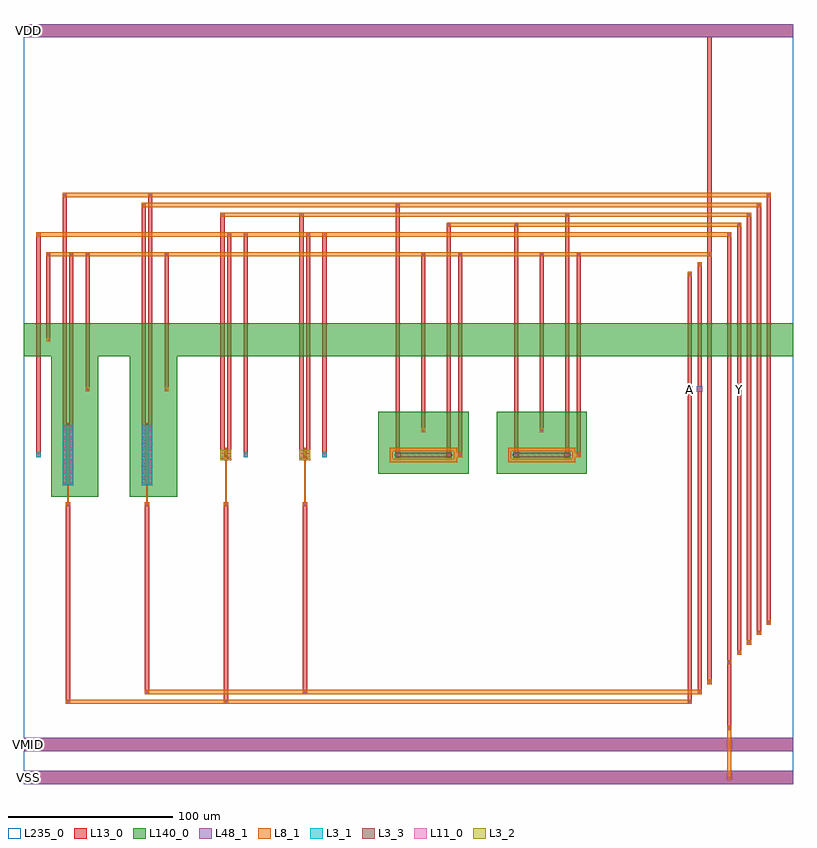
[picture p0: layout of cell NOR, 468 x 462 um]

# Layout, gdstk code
import gdstk
lib = gdstk.Library(unit=1e-6, precision=1e-09)
def R(c, l, rs):  # rectangles x0, y0, x1, y1
    for r in rs: c.add(gdstk.rectangle(r[:2], r[2:], *l))
def A(c, l, x, y, w, h, nx, ny, dx, dy):  # array of equal rectangles
    R(c, l, [(x+i*dx, y+j*dy, x+i*dx+w, y+j*dy+h) for i in range(nx) for j in range(ny)])
def P(c, l, *ps):  # polygons
    for p in ps: c.add(gdstk.Polygon(p, *l))
L3_1 = (3, 1)
L3_2 = (3, 2)
L3_3 = (3, 3)
L8_1 = (8, 1)
L11_0 = (11, 0)
L13_0 = (13, 0)
L48_1 = (48, 1)
L140_0 = (140, 0)
L235_0 = (235, 0)

fet_p__nor = lib.new_cell('fet_p__NOR')
R(fet_p__nor, L3_1, [(-3.3,-18.5,3.3,18.5)])
A(fet_p__nor, L11_0, -2.5, -17.5, 1, 1, 1, 18, 0, 2)
A(fet_p__nor, L11_0, 1.5, -17.5, 1, 1, 1, 18, 0, 2)
R(fet_p__nor, L13_0, [(-3.3,-18.3,-0.7,18.3), (0.7,-18.3,3.3,18.3)])
fet_p__nor.add(gdstk.FlexPath([(0,-19.7),(0,19.7)], 1, ends="flush", simple_path=True, layer=8, datatype=1))  # L8_1

cont_g__nor = lib.new_cell('cont_g__NOR')
R(cont_g__nor, L8_1, [(-1.3,-1.3,1.3,1.3)])
R(cont_g__nor, L11_0, [(-0.5,-0.5,0.5,0.5)])
R(cont_g__nor, L13_0, [(-1.3,-1.3,1.3,1.3)])

cont_n__nor = lib.new_cell('cont_n__NOR')
R(cont_n__nor, L3_2, [(-1.3,-1.3,1.3,1.3)])
R(cont_n__nor, L11_0, [(-0.5,-0.5,0.5,0.5)])
R(cont_n__nor, L13_0, [(-1.3,-1.3,1.3,1.3)])

fet_n__nor = lib.new_cell('fet_n__NOR')
R(fet_n__nor, L3_2, [(-3.3,-3.25,3.3,3.25)])
R(fet_n__nor, L11_0, [(-2.5,-1.5,-1.5,-0.5), (1.5,-1.5,2.5,-0.5), (-2.5,0.5,-1.5,1.5), (1.5,0.5,2.5,1.5)])
R(fet_n__nor, L13_0, [(-3.3,-2.3,-0.7,2.3), (0.7,-2.3,3.3,2.3)])
fet_n__nor.add(gdstk.FlexPath([(0,-4.45),(0,4.45)], 1, ends="flush", simple_path=True, layer=8, datatype=1))  # L8_1

cont_p__nor = lib.new_cell('cont_p__NOR')
R(cont_p__nor, L3_1, [(-1.3,-1.3,1.3,1.3)])
R(cont_p__nor, L11_0, [(-0.5,-0.5,0.5,0.5)])
R(cont_p__nor, L13_0, [(-1.3,-1.3,1.3,1.3)])

res_diff__nor = lib.new_cell('res_diff__NOR')
P(res_diff__nor, L3_3, [(-16.5,-1.4),(-17.5,-0.4),(-17.5,0.4),(-16.5,1.4),(16.5,1.4),(17.5,0.4),(17.5,-0.4),(16.5,-1.4)])
P(res_diff__nor, L8_1, [(-20.5,-4.4),(-20.5,2.4),(-18.5,2.4),(-18.5,-2.4),(18.5,-2.4),(18.5,2.4),(-20.5,2.4),(-20.5,4.4),(20.5,4.4),(20.5,-4.4)])
R(res_diff__nor, L11_0, [(-16,-0.5,-15,0.5), (15,-0.5,16,0.5)])
R(res_diff__nor, L13_0, [(-17.2,-1.7,-13.8,1.7), (13.8,-1.7,17.2,1.7)])

nor = lib.new_cell('NOR')
A(nor, L8_1, 26.5, 169.5, 1, 31, 4, 1, 48, 0)
R(nor, L8_1, [(427.7,2.7,430.3,35.3), (25.7,48.7,406.3,51.3), (73.7,54.7,412.3,57.3), (262.2,198.7,266.8,201.3), (334.2,198.7,338.8,201.3), (13.7,320.7,418.3,323.3), (7.7,332.7,430.3,335.3), (257.2,338.7,436.3,341.3), (119.7,344.7,442.3,347.3), (71.7,350.7,448.3,353.3), (23.7,356.7,454.3,359.3)])
R(nor, L13_0, [(0,0,468,8), (0,20,468,28), (427.7,32.7,430.3,75.3), (25.7,48.7,28.3,171.3), (121.7,48.7,124.3,171.3), (403.7,48.7,406.3,311.3), (73.7,54.7,76.3,171.3), (169.7,54.7,172.3,171.3), (409.7,54.7,412.3,317.3), (415.7,60.7,418.3,323.3), (427.7,72.7,430.3,335.3), (433.7,78.7,436.3,341.3), (439.7,84.7,442.3,347.3), (445.7,90.7,448.3,353.3), (451.7,96.7,454.3,359.3), (7.7,198.7,10.3,335.3), (23.7,198.7,26.3,359.3), (27.7,198.7,30.3,323.3), (71.7,198.7,74.3,353.3), (75.7,198.7,78.3,359.3), (119.7,198.7,122.3,347.3), (123.7,198.7,126.3,335.3), (133.7,198.7,136.3,335.3), (167.7,198.7,170.3,347.3), (171.7,198.7,174.3,335.3), (181.7,198.7,184.3,335.3), (226.2,198.7,228.8,353.3), (257.2,198.7,259.8,341.3), (264.2,198.7,266.8,323.3), (298.2,198.7,300.8,341.3), (329.2,198.7,331.8,347.3), (336.2,198.7,338.8,323.3), (241.7,213.7,244.3,323.3), (313.7,213.7,316.3,323.3), (403.3,238.3,406.7,241.7), (409.3,238.3,412.7,241.7), (433.3,238.3,436.7,241.7), (37.7,238.7,40.3,323.3), (85.7,238.7,88.3,323.3), (13.7,268.7,16.3,323.3), (415.7,320.7,418.3,459.3), (0,454,468,462)])
R(nor, L48_1, [(0,0,468,8), (0,20,468,28), (403.3,238.3,406.7,241.7), (409.3,238.3,412.7,241.7), (433.3,238.3,436.7,241.7), (0,454,468,462)])
R(nor, L140_0, [(16.7,174.5,45.3,280), (64.7,174.5,93.3,280), (215.5,188.6,270.5,226.4), (287.5,188.6,342.5,226.4), (0,260,468,280)])
R(nor, L235_0, [(0,0,468,462)])
nor.add(gdstk.Reference(fet_p__nor, (27,200)))
nor.add(gdstk.Reference(cont_g__nor, (27,170)))
nor.add(gdstk.Reference(cont_n__nor, (39,240)))
nor.add(gdstk.Reference(fet_p__nor, (75,200)))
nor.add(gdstk.Reference(cont_g__nor, (75,170)))
nor.add(gdstk.Reference(cont_n__nor, (87,240)))
nor.add(gdstk.Reference(fet_n__nor, (123,200)))
nor.add(gdstk.Reference(cont_g__nor, (123,170)))
nor.add(gdstk.Reference(cont_p__nor, (135,200)))
nor.add(gdstk.Reference(fet_n__nor, (171,200)))
nor.add(gdstk.Reference(cont_g__nor, (171,170)))
nor.add(gdstk.Reference(cont_p__nor, (183,200)))
nor.add(gdstk.Reference(res_diff__nor, (243,200)))
nor.add(gdstk.Reference(cont_n__nor, (243,215)))
nor.add(gdstk.Reference(cont_g__nor, (265.5,200)))
nor.add(gdstk.Reference(res_diff__nor, (315,200)))
nor.add(gdstk.Reference(cont_n__nor, (315,215)))
nor.add(gdstk.Reference(cont_g__nor, (337.5,200)))
nor.add(gdstk.Reference(cont_n__nor, (15,270)))
nor.add(gdstk.Reference(cont_p__nor, (9,200)))
nor.add(gdstk.Reference(cont_g__nor, (27,50)))
nor.add(gdstk.Reference(cont_g__nor, (123,50)))
nor.add(gdstk.Reference(cont_g__nor, (405,50)))
nor.add(gdstk.Reference(cont_g__nor, (405,310)))
nor.add(gdstk.Reference(cont_g__nor, (75,56)))
nor.add(gdstk.Reference(cont_g__nor, (171,56)))
nor.add(gdstk.Reference(cont_g__nor, (411,56)))
nor.add(gdstk.Reference(cont_g__nor, (411,316)))
nor.add(gdstk.Reference(cont_g__nor, (417,62)))
nor.add(gdstk.Reference(cont_g__nor, (29,322)))
nor.add(gdstk.Reference(cont_g__nor, (39,322)))
nor.add(gdstk.Reference(cont_g__nor, (87,322)))
nor.add(gdstk.Reference(cont_g__nor, (243,322)))
nor.add(gdstk.Reference(cont_g__nor, (265.5,322)))
nor.add(gdstk.Reference(cont_g__nor, (315,322)))
nor.add(gdstk.Reference(cont_g__nor, (337.5,322)))
nor.add(gdstk.Reference(cont_g__nor, (15,322)))
nor.add(gdstk.Reference(cont_g__nor, (417,322)))
nor.add(gdstk.Reference(cont_g__nor, (429,74)))
nor.add(gdstk.Reference(cont_g__nor, (125,334)))
nor.add(gdstk.Reference(cont_g__nor, (135,334)))
nor.add(gdstk.Reference(cont_g__nor, (173,334)))
nor.add(gdstk.Reference(cont_g__nor, (183,334)))
nor.add(gdstk.Reference(cont_g__nor, (9,334)))
nor.add(gdstk.Reference(cont_g__nor, (429,334)))
nor.add(gdstk.Reference(cont_g__nor, (429,34)))
nor.add(gdstk.Reference(cont_g__nor, (429,4)))
nor.add(gdstk.Reference(cont_g__nor, (435,80)))
nor.add(gdstk.Reference(cont_g__nor, (258.5,340)))
nor.add(gdstk.Reference(cont_g__nor, (299.5,340)))
nor.add(gdstk.Reference(cont_g__nor, (435,340)))
nor.add(gdstk.Reference(cont_g__nor, (441,86)))
nor.add(gdstk.Reference(cont_g__nor, (121,346)))
nor.add(gdstk.Reference(cont_g__nor, (169,346)))
nor.add(gdstk.Reference(cont_g__nor, (330.5,346)))
nor.add(gdstk.Reference(cont_g__nor, (441,346)))
nor.add(gdstk.Reference(cont_g__nor, (447,92)))
nor.add(gdstk.Reference(cont_g__nor, (73,352)))
nor.add(gdstk.Reference(cont_g__nor, (227.5,352)))
nor.add(gdstk.Reference(cont_g__nor, (447,352)))
nor.add(gdstk.Reference(cont_g__nor, (453,98)))
nor.add(gdstk.Reference(cont_g__nor, (25,358)))
nor.add(gdstk.Reference(cont_g__nor, (77,358)))
nor.add(gdstk.Reference(cont_g__nor, (453,358)))
nor.add(gdstk.Label('A', (405,240), layer=48, texttype=0))
nor.add(gdstk.Label('B', (411,240), layer=48, texttype=0))
nor.add(gdstk.Label('Y', (435,240), layer=48, texttype=0))
nor.add(gdstk.Label('VDD', (3,458), layer=48, texttype=0))
nor.add(gdstk.Label('VMID', (3,24), layer=48, texttype=0))
nor.add(gdstk.Label('VSS', (3,4), layer=48, texttype=0))

lib.write_gds('NOR.gds')
